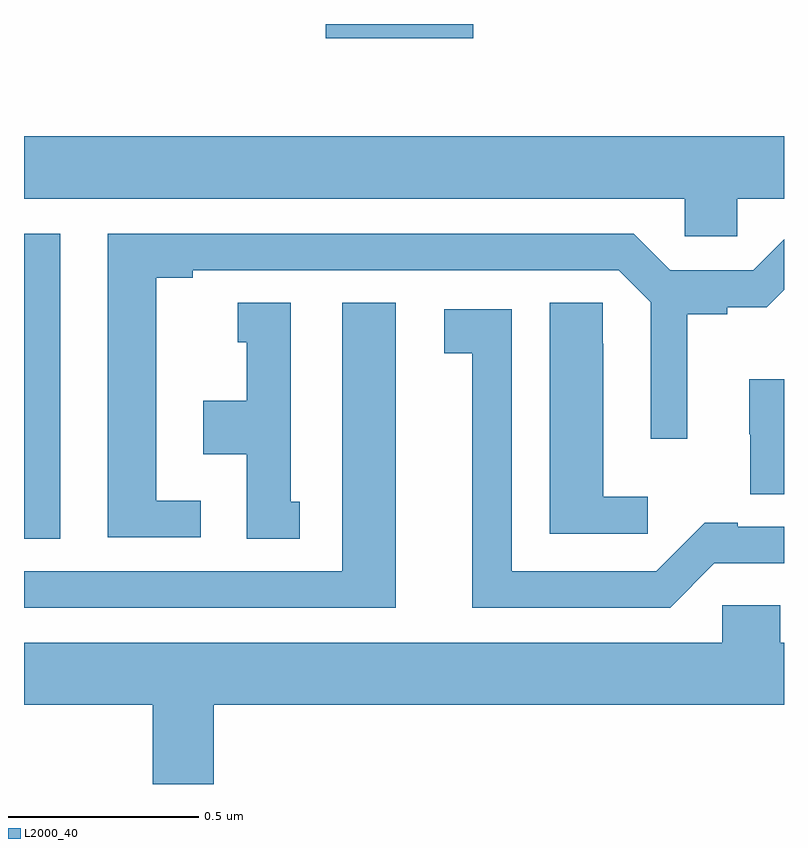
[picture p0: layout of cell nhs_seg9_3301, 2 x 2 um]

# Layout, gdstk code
import gdstk
lib = gdstk.Library(unit=1e-6, precision=1e-09)
def R(c, l, rs):  # rectangles x0, y0, x1, y1
    for r in rs: c.add(gdstk.rectangle(r[:2], r[2:], *l))
def P(c, l, *ps):  # polygons
    for p in ps: c.add(gdstk.Polygon(p, *l))
L2000_40 = (2000, 40)

nhs_seg9_3301 = lib.new_cell('nhs_seg9_3301')
R(nhs_seg9_3301, L2000_40, [(151,1242.145,151.096,1242.948), (151.794,1243.463,152.182,1243.5)])
P(nhs_seg9_3301, L2000_40, [(151,1243.04),(152.739,1243.04),(152.739,1242.942),(152.877,1242.942),(152.877,1243.04),(153,1243.04),(153,1243.204),(151,1243.204)],
  [(151.465,1242.246),(151.348,1242.246),(151.348,1242.832),(151.444,1242.832),(151.444,1242.852),(152.565,1242.852),(152.649,1242.768),(152.649,1242.408),(152.746,1242.408),(152.746,1242.736),(152.85,1242.736),(152.85,1242.755),(152.954,1242.755),(153,1242.801),(153,1242.933),(152.919,1242.852),(152.701,1242.852),(152.605,1242.948),(151.22,1242.948),(151.22,1242.15),(151.465,1242.15)],
  [(152.641,1242.256),(152.524,1242.256),(152.524,1242.659),(152.523,1242.659),(152.523,1242.767),(152.384,1242.767),(152.384,1242.159),(152.641,1242.159)],
  [(151.726,1242.243),(151.702,1242.243),(151.702,1242.766),(151.562,1242.766),(151.562,1242.663),(151.586,1242.663),(151.586,1242.508),(151.472,1242.508),(151.472,1242.368),(151.586,1242.368),(151.586,1242.145),(151.726,1242.145)],
  [(151.978,1242.766),(151.838,1242.766),(151.838,1242.06),(151,1242.06),(151,1241.964),(151.978,1241.964)],
  [(152.817,1242.081),(153,1242.081),(153,1242.177),(152.878,1242.177),(152.878,1242.188),(152.792,1242.188),(152.664,1242.06),(152.284,1242.06),(152.284,1242.75),(152.106,1242.75),(152.106,1242.634),(152.18,1242.634),(152.18,1241.964),(152.7,1241.964)],
  [(153,1242.565),(152.909,1242.565),(152.909,1242.42),(152.911,1242.42),(152.911,1242.262),(153,1242.262)],
  [(151.499,1241.708),(153,1241.708),(153,1241.872),(152.99,1241.872),(152.99,1241.97),(152.838,1241.97),(152.838,1241.872),(151,1241.872),(151,1241.708),(151.339,1241.708),(151.339,1241.5),(151.499,1241.5)])

lib.write_gds('nhs_seg9_3301.gds')
